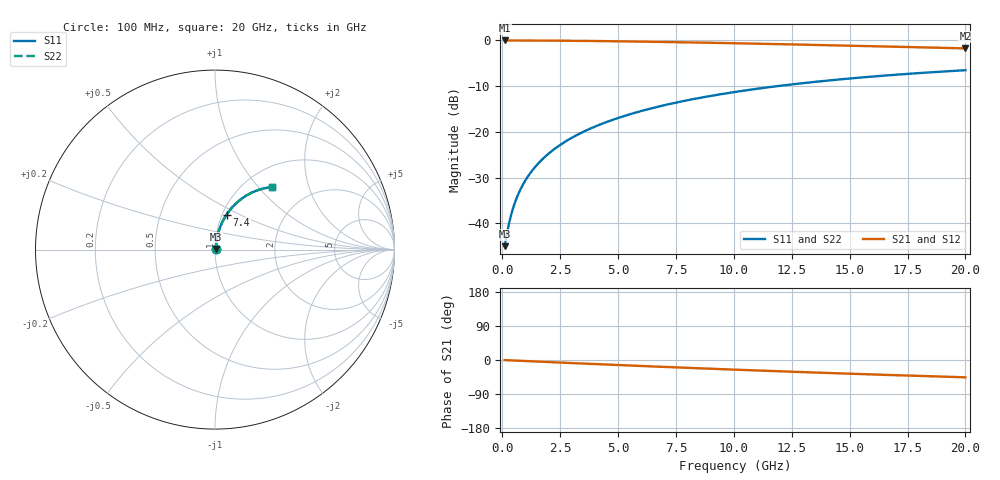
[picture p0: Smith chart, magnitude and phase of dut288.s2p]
! Touchstone file exported from HFSS 2024.1.0
!  File:  C:/UserFiles/LocalFiles/RDL_TSV_Batchsim/temp_RDL_top_288_1778690349.aedt
!  Generated:  12:41:21 AM May 14, 2026
!  Design:  RDL_top
!  Project:  temp_RDL_top_288_1778690349
!  Setup:  Setup1
!  Solution:  Sweep
! Variables:
!  dtsv = 10.80580581um
!  hbump = 3um
!  htsv = 97.61um
!  ldown = 100um
!  lrdl = 647.07um
!  p = 40
!  p1 = 40.66um
!  rhole = 1um
!  t = 450um
!  tdown = 3.915915916um
!  trdl = 4.1um
!  wdown = 15.38538539um
!  wrdl = 11.75um
# GHz S MA R 50.000000
! Terminal data exported
! Port[1] = Box2_T1
! Port[2] = Box2_T2
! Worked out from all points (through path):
!   200 points, 100 MHz to 20 GHz, reference 50 ohm
!   highest |S21| = -0.04 dB at 100 MHz (marker M1); lowest = -1.8 dB at 20 GHz (marker M2)
!   group delay of S21, straight-line fit = 6.35 ps
!   lowest |S11| = -45.0 dB at 100 MHz (marker M3), VSWR 1.01, Z = 50.5 + j0.304 ohm
!   |S11| at or under -10 dB: start of sweep to 11.9 GHz
!   |S22| runs from -45.0 to -6.5 dB; largest |S21 - S12| = 1.1e-14
!   S11 on the Smith chart (normalised r, x): 100 MHz: 1.01, +0.01; 7.4 GHz: 1.05, +0.43; 20 GHz: 1.32, +1.19
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0.1  0.005655 32.1  0.9952 -0.3  0.9952 -0.3  0.005655 32.1
! Gamma 0 0 0 0
! Port Impedance 50 0 50 0
0.2  0.007734 50.7  0.9951 -0.6  0.9951 -0.6  0.007734 50.7
0.3  0.01025 60.5  0.995 -0.8  0.995 -0.8  0.01025 60.5
0.4  0.01292 66.1  0.9948 -1.1  0.9948 -1.1  0.01292 66.1
0.5  0.01566 69.7  0.9946 -1.4  0.9946 -1.4  0.01566 69.7
0.6  0.01842 72.2  0.9945 -1.7  0.9945 -1.7  0.01842 72.2
0.8  0.02399 75.4  0.9941 -2.2  0.9941 -2.2  0.02399 75.4
1.1  0.03242 77.8  0.9935 -3.0  0.9935 -3.0  0.03242 77.9
1.3  0.03806 78.8  0.9931 -3.5  0.9931 -3.5  0.03806 78.8
1.6  0.04656 79.5  0.9923 -4.3  0.9923 -4.3  0.04656 79.5
2.1  0.06073 79.9  0.9907 -5.7  0.9907 -5.7  0.06073 79.9
2.7  0.07771 79.6  0.9883 -7.3  0.9883 -7.3  0.07771 79.6
3.5  0.1002 78.7  0.9843 -9.4  0.9843 -9.4  0.1002 78.7
4.2  0.1197 77.6  0.9801 -11.2  0.9801 -11.2  0.1197 77.6
5  0.1418 76.2  0.9746 -13.3  0.9746 -13.3  0.1418 76.3
6.8  0.1902 72.8  0.9599 -17.8  0.9599 -17.8  0.1903 72.8
7.4  0.206 71.6  0.9545 -19.3  0.9545 -19.3  0.206 71.7
8.7  0.2394 69.1  0.9419 -22.4  0.9419 -22.4  0.2394 69.1
10.1  0.274 66.3  0.9274 -25.6  0.9274 -25.6  0.274 66.3
13.4  0.3494 59.7  0.8908 -32.9  0.8908 -32.9  0.3495 59.8
16.7  0.4151 53.5  0.853 -39.5  0.853 -39.5  0.4153 53.5
20  0.4711 47.7  0.8157 -45.7  0.8157 -45.7  0.4713 47.7
